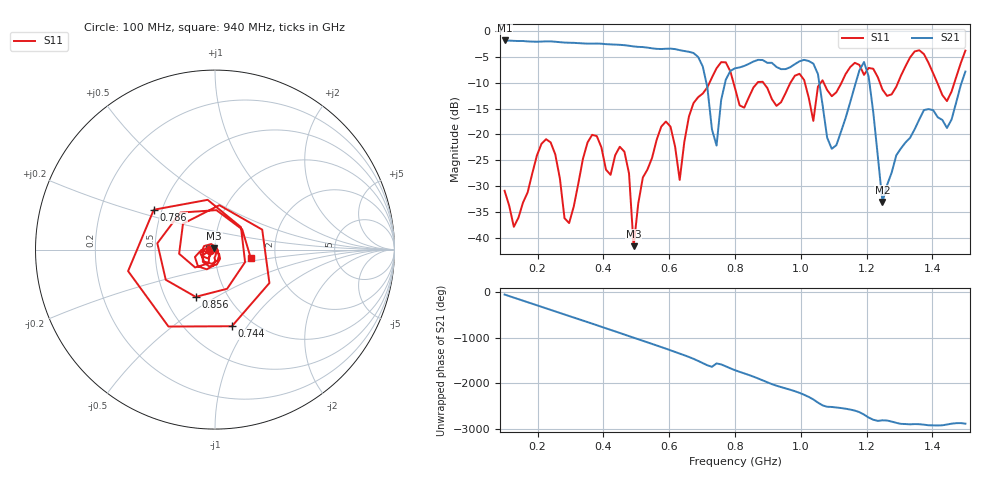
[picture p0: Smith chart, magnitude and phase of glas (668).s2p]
! NanoVNA-App
! Date: 2025-09-25 16:00:40
! Start: 100MHz Stop: 1,5GHz Points: 101
! S-Parameter data: F S11 S21 S12 S22
# Hz S RI R 50
!  Frequency  S11_Real  S11_Imag  S21_Real  S21_Imag  S12_Real  S12_Imag  S22_Real  S22_Imag
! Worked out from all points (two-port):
!   101 points, 100 MHz to 1.5 GHz, reference 50 ohm
!   highest |S21| = -1.80 dB at 100 MHz (marker M1); lowest = -33.1 dB at 1.248 GHz (marker M2)
!   |S21| within 3 dB of the highest: start of sweep to 684.3 MHz
!   lowest |S11| = -41.6 dB at 492 MHz (marker M3), VSWR 1.02, Z = 49.5 + j0.635 ohm
!   |S11| at or under -10 dB: start of sweep to 722.5 MHz; 795.5 MHz to 868 MHz (72.56 MHz wide, 8.72 % of centre); 886.3 MHz to 968.3 MHz (82.04 MHz wide, 8.85 % of centre) (the widest 3 of 7)
!   S12 and S22 are empty: the file has one direction only
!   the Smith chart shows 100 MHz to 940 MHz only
!   S11 on the Smith chart (normalised r, x): 100 MHz: 0.94, -0.01; 744 MHz: 0.81, -0.85; 786 MHz: 0.45, +0.24; 856 MHz: 0.71, -0.41; 940 MHz: 1.49, -0.15
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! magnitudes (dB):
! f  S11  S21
! 100 MHz  -30.9  -1.8
! 128 MHz  -37.9  -1.9
! 226 MHz  -20.9  -2.0
! 296 MHz  -37.2  -2.2
! 338 MHz  -24.7  -2.4
! 464 MHz  -23.3  -2.7
! 492 MHz  -41.6  -3.0
! 576 MHz  -18.5  -3.5
! 632 MHz  -28.8  -3.7
! 702 MHz  -12.1  -6.8
! 744 MHz  -7.2  -22.2
! 786 MHz  -7.8  -7.7
! 800 MHz  -11.0  -7.2
! 856 MHz  -10.9  -5.9
! 940 MHz  -13.8  -7.4
! 1.038 GHz  -17.4  -6.3
! 1.094 GHz  -12.6  -22.8
! 1.192 GHz  -8.5  -6.0
! 1.248 GHz  -11.3  -33.1
! 1.276 GHz  -12.2  -27.4
! 1.444 GHz  -13.5  -18.8
! 1.5 GHz  -3.8  -7.8
